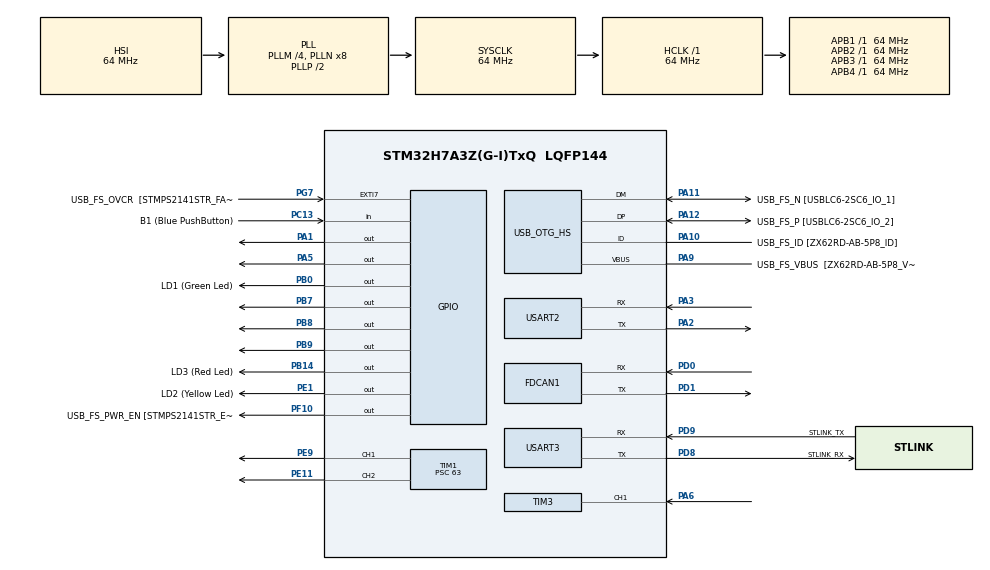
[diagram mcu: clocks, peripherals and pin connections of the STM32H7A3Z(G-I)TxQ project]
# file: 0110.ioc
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FDCAN1.AutoRetransmission=ENABLE
FDCAN1.DataPrescaler=25
FDCAN1.DataTimeSeg1=2
FDCAN1.FrameFormat=FDCAN_FRAME_FD_NO_BRS
FDCAN1.RxFifo0ElmtSize=FDCAN_DATA_BYTES_12
FDCAN1.RxFifo0ElmtsNbr=1
FDCAN1.StdFiltersNbr=1
FDCAN1.TxElmtSize=FDCAN_DATA_BYTES_12
FDCAN1.TxFifoQueueElmtsNbr=1
Mcu.Family=STM32H7
Mcu.Name=STM32H7A3Z(G-I)TxQ
Mcu.Package=LQFP144
NVIC.FDCAN1_IT0_IRQn=true\:0\:0\:false\:false\:true\:true\:true
NVIC.FDCAN1_IT1_IRQn=true\:0\:0\:false\:false\:true\:true\:true
NVIC.PriorityGroup=NVIC_PRIORITYGROUP_4
NVIC.TIM3_IRQn=true\:0\:0\:false\:false\:true\:true\:true
PA1.Signal=GPIO_Output
PA10.GPIO_Label=USB_FS_ID [ZX62RD-AB-5P8_ID]
PA10.Mode=OTG/Dual-Role-Device-FS
PA10.Signal=USB_OTG_HS_ID
PA11.GPIO_Label=USB_FS_N [USBLC6-2SC6_IO_1]
PA11.Mode=OTG/Dual-Role-Device-FS
PA11.Signal=USB_OTG_HS_DM
PA12.GPIO_Label=USB_FS_P [USBLC6-2SC6_IO_2]
PA12.Mode=OTG/Dual-Role-Device-FS
PA12.Signal=USB_OTG_HS_DP
PA2.Mode=Asynchronous
PA2.Signal=USART2_TX
PA3.Mode=Asynchronous
PA3.Signal=USART2_RX
PA5.Signal=GPIO_Output
PA6.Signal=S_TIM3_CH1
PA9.GPIO_Label=USB_FS_VBUS  [ZX62RD-AB-5P8_VBUS]
PA9.Mode=Activate_VBUS_FS
PA9.Signal=USB_OTG_HS_VBUS
PB0.GPIO_Label=LD1 (Green Led)
PB0.Signal=GPIO_Output
PB14.GPIO_Label=LD3 (Red Led)
PB14.Signal=GPIO_Output
PB7.Signal=GPIO_Output
PB8.Signal=GPIO_Output
PB9.Signal=GPIO_Output
PC13.GPIO_Label=B1 (Blue PushButton)
PC13.Signal=GPIO_Input
PC14-OSC32_IN.GPIO_Label=OSC32_IN
PC14-OSC32_IN.Mode=LSE-External-Oscillator
PC14-OSC32_IN.Signal=RCC_OSC32_IN
PC15-OSC32_OUT.GPIO_Label=OSC32_OUT
PC15-OSC32_OUT.Mode=LSE-External-Oscillator
PC15-OSC32_OUT.Signal=RCC_OSC32_OUT
PD0.Mode=FDCAN_Activate
PD0.Signal=FDCAN1_RX
PD1.Mode=FDCAN_Activate
PD1.Signal=FDCAN1_TX
PD8.GPIO_Label=STLINK_RX
PD8.Mode=Asynchronous
PD8.Signal=USART3_TX
PD9.GPIO_Label=STLINK_TX
PD9.Mode=Asynchronous
PD9.Signal=USART3_RX
PE1.GPIO_Label=LD2 (Yellow Led)
PE1.Signal=GPIO_Output
PE11.Signal=S_TIM1_CH2
PE9.Signal=S_TIM1_CH1
PF10.GPIO_Label=USB_FS_PWR_EN [STMPS2141STR_EN]
PF10.Signal=GPIO_Output
PG7.GPIO_Label=USB_FS_OVCR  [STMPS2141STR_FAULT]
PG7.Signal=GPXTI7
PH0-OSC_IN.GPIO_Label=PH0-MCU
PH0-OSC_IN.Signal=RCC_OSC_IN
PH1-OSC_OUT.GPIO_Label=PH1-MCU
PH1-OSC_OUT.Signal=RCC_OSC_OUT
ProjectManager.HeapSize=0x200
ProjectManager.StackSize=0x400
ProjectManager.TargetToolchain=STM32CubeIDE
RCC.ADCFreq_Value=121000000
RCC.APB1Freq_Value=64000000
RCC.APB2Freq_Value=64000000
RCC.APB3Freq_Value=64000000
RCC.APB4Freq_Value=64000000
RCC.CortexFreq_Value=64000000
RCC.DIVM1=4
RCC.DIVM3=1
RCC.DIVN1=8
RCC.DIVN2=121
RCC.DIVN3=24
RCC.DIVQ1=4
RCC.DIVQ3=3
RCC.HCLKFreq_Value=64000000
RCC.HSE_VALUE=8000000
RCC.PLL1_VCO_SEL-AdvancedSettings=RCC_PLL1VCOMEDIUM
RCC.PLL2FRACN=0
RCC.PLL2_VCI_Range-AdvancedSettings=RCC_PLL2VCIRANGE_3
RCC.PLL3FRACN=0
RCC.PLLFRACN=0
RCC.PWR_Regulator_Voltage_Scale=PWR_REGULATOR_VOLTAGE_SCALE0
RCC.SYSCLKFreq_VALUE=64000000
RCC.SYSCLKSource=RCC_SYSCLKSOURCE_PLLCLK
RCC.SupplySource=PWR_DIRECT_SMPS_SUPPLY
RCC.USBCLockSelection=RCC_USBCLKSOURCE_HSI48
RCC.USBFreq_Value=48000000
SH.S_TIM1_CH1.0=TIM1_CH1,PWM Generation1 CH1
SH.S_TIM1_CH2.0=TIM1_CH2,PWM Generation2 CH2
SH.S_TIM3_CH1.0=TIM3_CH1,Input_Capture1_from_TI1
TIM1.Channel-PWM\ Generation1\ CH1=TIM_CHANNEL_1
TIM1.Channel-PWM\ Generation2\ CH2=TIM_CHANNEL_2
TIM1.OCPolarity_2=TIM_OCPOLARITY_LOW
TIM1.Period=100
TIM1.Prescaler=63
TIM1.Pulse-PWM\ Generation1\ CH1=50
TIM1.Pulse-PWM\ Generation2\ CH2=10
TIM3.Channel-Input_Capture1_from_TI1=TIM_CHANNEL_1
TIM3.Prescaler=63
USART2.VirtualMode-Asynchronous=VM_ASYNC
USART3.VirtualMode-Asynchronous=VM_ASYNC
VP_TIM3_VS_ClockSourceINT.Mode=Internal
board=NUCLEO-H7A3ZI-Q

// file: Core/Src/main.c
/* USER CODE BEGIN Header */
/**
  ******************************************************************************
  * @file           : main.c
  * @brief          : Main program body
  ******************************************************************************
  * @attention
  *
  * Copyright (c) 2023 STMicroelectronics.
  * All rights reserved.
  *
  * This software is licensed under terms that can be found in the LICENSE file
  * in the root directory of this software component.
  * If no LICENSE file comes with this software, it is provided AS-IS.
  *
  ******************************************************************************
  */
/* USER CODE END Header */
#include "main.h"
#include "fdcan.h"
#include "tim.h"
#include "usart.h"
#include "usb_otg.h"
#include "gpio.h"

/* USER CODE BEGIN Includes */
#include <stdio.h>
/* USER CODE END Includes */

/* USER CODE BEGIN PD */
#define TRIG_PIN GPIO_PIN_5
#define TRIG_PORT GPIOA
/* USER CODE END PD */

/* USER CODE BEGIN PM */
#ifdef __GNUC__
  /* With GCC, small printf (option LD Linker->Libraries->Small printf
     set to 'Yes') calls __io_putchar() */
  #define PUTCHAR_PROTOTYPE int __io_putchar(int ch)
#else
  #define PUTCHAR_PROTOTYPE int fputc(int ch, FILE *f)
#endif /* __GNUC__ */
PUTCHAR_PROTOTYPE
{
  /* Place your implementation of fputc here */
  /* e.g. write a character to the EVAL_COM1 and Loop until the end of transmission */
  HAL_UART_Transmit(&huart3, (uint8_t *)&ch, 1, 0xFFFF);
  return ch;
}
/* USER CODE END PM */

/* USER CODE BEGIN PV */
uint32_t IC_Val1 = 0;
uint32_t IC_Val2 = 0;
uint32_t Difference = 0;
uint8_t Is_First_Captured = 0;  // is the first value captured ?
uint8_t Distance  = 0;
/* USER CODE END PV */

void SystemClock_Config(void);
/* USER CODE BEGIN PFP */
void delay (uint16_t time)
{
	__HAL_TIM_SET_COUNTER(&htim3, 0);
	while (__HAL_TIM_GET_COUNTER (&htim3) < time);
}

void HAL_TIM_IC_CaptureCallback(TIM_HandleTypeDef *htim)
{
	if (htim->Channel == HAL_TIM_ACTIVE_CHANNEL_1)  // if the interrupt source is channel1
	{
		if (Is_First_Captured==0) // if the first value is not captured
		{
			IC_Val1 = HAL_TIM_ReadCapturedValue(htim, TIM_CHANNEL_1); // read the first value
			Is_First_Captured = 1;  // set the first captured as true
			// Now change the polarity to falling edge
			__HAL_TIM_SET_CAPTUREPOLARITY(htim, TIM_CHANNEL_1, TIM_INPUTCHANNELPOLARITY_FALLING);
		}

		else if (Is_First_Captured==1)   // if the first is already captured
		{
			IC_Val2 = HAL_TIM_ReadCapturedValue(htim, TIM_CHANNEL_1);  // read second value
			__HAL_TIM_SET_COUNTER(htim, 0);  // reset the counter

			if (IC_Val2 > IC_Val1)//거리 측정
			{
				Difference = IC_Val2-IC_Val1;
			}

			else if (IC_Val1 > IC_Val2)//?��버플로우�? 고려?�� 코드
			{
				Difference = (0xffff - IC_Val1) + IC_Val2;
			}

			Distance = Difference * .034/2;//x?��?��?�� cm�? ?��?��
			Is_First_Captured = 0; // set it back to false

			// set polarity to rising edge
			__HAL_TIM_SET_CAPTUREPOLARITY(htim, TIM_CHANNEL_1, TIM_INPUTCHANNELPOLARITY_RISING);//rising?���? ?��리거
			__HAL_TIM_DISABLE_IT(&htim3, TIM_IT_CC1);
		}
	}
}

void HCSR04_Read (void)
{
	HAL_GPIO_WritePin(TRIG_PORT, TRIG_PIN, GPIO_PIN_SET);  // pull the TRIG pin HIGH
	delay(10);  // wait for 10 us
	HAL_GPIO_WritePin(TRIG_PORT, TRIG_PIN, GPIO_PIN_RESET);  // pull the TRIG pin low

	__HAL_TIM_ENABLE_IT(&htim3, TIM_IT_CC1);
}
/* USER CODE END PFP */

/* USER CODE BEGIN 0 */

/**
 * @brief Retargets the C library printf function to the USART
 * @param None
 * @retval None
 */

/* USER CODE END 0 */

int main(void)
{

  /* MCU Configuration--------------------------------------------------------*/

  /* Reset of all peripherals, Initializes the Flash interface and the Systick. */
  HAL_Init();

  /* Configure the system clock */
  SystemClock_Config();

  /* Initialize all configured peripherals */
  MX_GPIO_Init();
  MX_USART3_UART_Init();
  MX_USB_OTG_HS_USB_Init();
  MX_FDCAN1_Init();
  MX_TIM1_Init();
  MX_TIM3_Init();
  MX_USART2_UART_Init();
  /* USER CODE BEGIN 2 */
  HAL_TIM_PWM_Start(&htim1, TIM_CHANNEL_1);
  HAL_TIM_PWM_Start(&htim1, TIM_CHANNEL_2);
  HAL_TIM_IC_Start_IT(&htim3, TIM_CHANNEL_1);
//  __IO uint32_t PSC;
  /* USER CODE END 2 */

  /* Infinite loop */
  /* USER CODE BEGIN WHILE */
  while (1)
  {
	  htim1.Instance->CCR2 = 1;

//	  HCSR04_Read();
//	  if(Distance<=10)
//		  htim1.Instance->CCR2 = 0;
//	  printf("%d cm\r\n",Distance);
//	  HAL_Delay(200);

    /* USER CODE END WHILE */

  }
}

void SystemClock_Config(void)
{
  RCC_OscInitTypeDef RCC_OscInitStruct = {0};
  RCC_ClkInitTypeDef RCC_ClkInitStruct = {0};

  /** Supply configuration update enable
  */
  HAL_PWREx_ConfigSupply(PWR_DIRECT_SMPS_SUPPLY);
  /** Configure the main internal regulator output voltage
  */
  __HAL_PWR_VOLTAGESCALING_CONFIG(PWR_REGULATOR_VOLTAGE_SCALE0);

  while(!__HAL_PWR_GET_FLAG(PWR_FLAG_VOSRDY)) {}
  /** Initializes the RCC Oscillators according to the specified parameters
  * in the RCC_OscInitTypeDef structure.
  */
  RCC_OscInitStruct.OscillatorType = RCC_OSCILLATORTYPE_HSI48|RCC_OSCILLATORTYPE_HSI;
  RCC_OscInitStruct.HSIState = RCC_HSI_DIV1;
  RCC_OscInitStruct.HSICalibrationValue = RCC_HSICALIBRATION_DEFAULT;
  RCC_OscInitStruct.HSI48State = RCC_HSI48_ON;
  RCC_OscInitStruct.PLL.PLLState = RCC_PLL_ON;
  RCC_OscInitStruct.PLL.PLLSource = RCC_PLLSOURCE_HSI;
  RCC_OscInitStruct.PLL.PLLM = 4;
  RCC_OscInitStruct.PLL.PLLN = 8;
  RCC_OscInitStruct.PLL.PLLP = 2;
  RCC_OscInitStruct.PLL.PLLQ = 4;
  RCC_OscInitStruct.PLL.PLLR = 2;
  RCC_OscInitStruct.PLL.PLLRGE = RCC_PLL1VCIRANGE_3;
  RCC_OscInitStruct.PLL.PLLVCOSEL = RCC_PLL1VCOWIDE;
  RCC_OscInitStruct.PLL.PLLFRACN = 0;
  if (HAL_RCC_OscConfig(&RCC_OscInitStruct) != HAL_OK)
  {
    Error_Handler();
  }
  /** Initializes the CPU, AHB and APB buses clocks
  */
  RCC_ClkInitStruct.ClockType = RCC_CLOCKTYPE_HCLK|RCC_CLOCKTYPE_SYSCLK
                              |RCC_CLOCKTYPE_PCLK1|RCC_CLOCKTYPE_PCLK2
                              |RCC_CLOCKTYPE_D3PCLK1|RCC_CLOCKTYPE_D1PCLK1;
  RCC_ClkInitStruct.SYSCLKSource = RCC_SYSCLKSOURCE_PLLCLK;
  RCC_ClkInitStruct.SYSCLKDivider = RCC_SYSCLK_DIV1;
  RCC_ClkInitStruct.AHBCLKDivider = RCC_HCLK_DIV1;
  RCC_ClkInitStruct.APB3CLKDivider = RCC_APB3_DIV1;
  RCC_ClkInitStruct.APB1CLKDivider = RCC_APB1_DIV1;
  RCC_ClkInitStruct.APB2CLKDivider = RCC_APB2_DIV1;
  RCC_ClkInitStruct.APB4CLKDivider = RCC_APB4_DIV1;

  if (HAL_RCC_ClockConfig(&RCC_ClkInitStruct, FLASH_LATENCY_1) != HAL_OK)
  {
    Error_Handler();
  }
}

void Error_Handler(void)
{
  __disable_irq();
  while (1)
  {
  }
}
